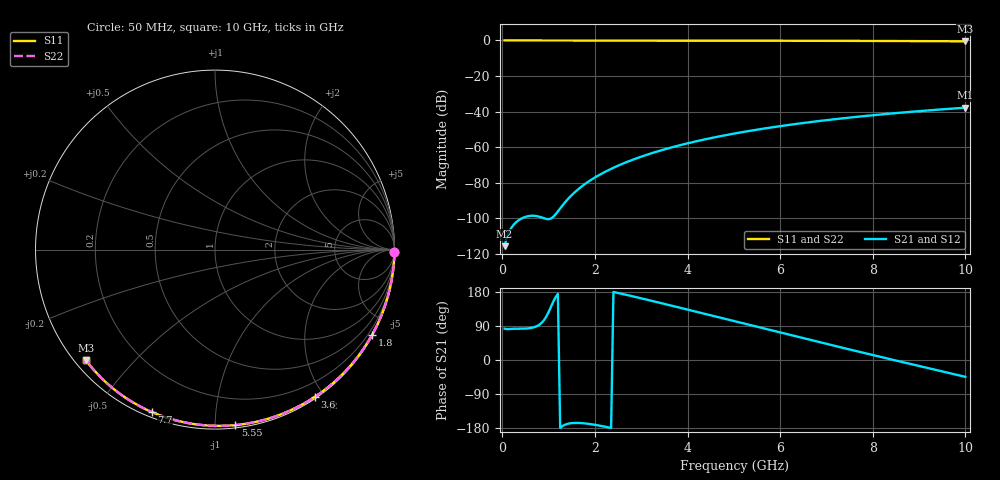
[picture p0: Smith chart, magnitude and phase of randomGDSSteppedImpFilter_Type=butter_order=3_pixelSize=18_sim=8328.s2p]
! freq	dB(S11)	phase(S11)	dB(S12)	phase(S12)
!  dB(S21)	phase(S21)	dB(S22)	phase(S22)
!S-par simulation data
#  GHz  S  DB  R 50
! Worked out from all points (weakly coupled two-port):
!   200 points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, 50 MHz to 10 GHz, reference 50 ohm
!   highest |S21| = -37.78 dB at 10 GHz (marker M1); lowest = -115.6 dB at 50 MHz (marker M2)
!   lowest |S11| = -0.5 dB at 10 GHz (marker M3), VSWR 36.90, Z = 1.54 - j18.5 ohm
!   |S11| at or under -10 dB: nowhere
!   |S22| runs from -0.5 to 0.0 dB; largest |S21 - S12| = 0
!   S11 on the Smith chart (normalised r, x): 50 MHz: open; 1.8 GHz: 0.03, -3.92; 3.6 GHz: 0.02, -1.88; 5.55 GHz: 0.02, -1.12; 7.7 GHz: 0.02, -0.68; 10 GHz: 0.03, -0.37
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0.05  -0.00 -0.8  -115.60 82.7  -115.60 82.7  -0.00 -0.8
0.45  -0.01 -7.3  -99.61 82.7  -99.61 82.7  -0.01 -7.3
0.9  -0.02 -14.5  -99.91 105.0  -99.91 105.0  -0.02 -14.5
1.75  -0.04 -27.8  -81.35 -167.0  -81.35 -167.0  -0.04 -27.8
1.8  -0.04 -28.6  -80.40 -167.6  -80.40 -167.6  -0.04 -28.6
1.85  -0.04 -29.4  -79.50 -168.3  -79.50 -168.3  -0.04 -29.4
2.05  -0.04 -32.5  -76.24 -172.1  -76.24 -172.1  -0.04 -32.5
2.2  -0.04 -34.8  -74.10 -175.5  -74.10 -175.5  -0.04 -34.8
2.55  -0.05 -40.2  -69.79 175.5  -69.79 175.5  -0.05 -40.2
2.95  -0.06 -46.2  -65.75 164.2  -65.75 164.2  -0.06 -46.2
3.4  -0.07 -52.9  -61.97 151.0  -61.97 151.0  -0.07 -52.9
3.6  -0.08 -55.9  -60.49 145.0  -60.49 145.0  -0.08 -55.9
3.9  -0.08 -60.3  -58.44 136.0  -58.44 136.0  -0.08 -60.3
4.3  -0.09 -66.0  -56.01 123.9  -56.01 123.9  -0.09 -66.0
5.05  -0.12 -76.5  -52.12 101.1  -52.12 101.1  -0.12 -76.5
5.55  -0.14 -83.4  -49.92 86.0  -49.92 86.0  -0.14 -83.4
6.1  -0.16 -90.7  -47.78 69.4  -47.78 69.4  -0.16 -90.7
6.7  -0.19 -98.5  -45.72 51.4  -45.72 51.4  -0.19 -98.5
7.7  -0.25 -111.2  -42.80 21.9  -42.80 21.9  -0.25 -111.2
8.35  -0.30 -119.3  -41.17 2.9  -41.17 2.9  -0.30 -119.3
9.2  -0.38 -129.7  -39.30 -21.6  -39.30 -21.6  -0.38 -129.7
10  -0.47 -139.4  -37.78 -44.5  -37.78 -44.5  -0.47 -139.4
